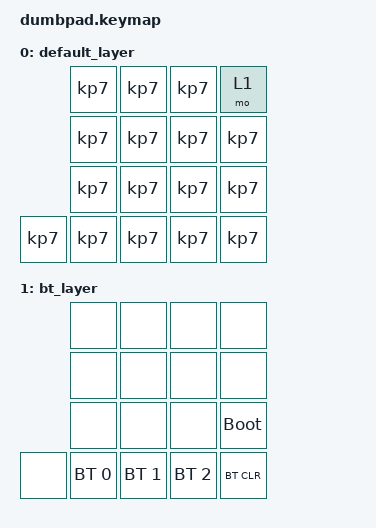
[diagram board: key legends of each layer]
#include <behaviors.dtsi>
#include <dt-bindings/zmk/keys.h>
#include <dt-bindings/zmk/bt.h>

/ {
    chosen {
		zephyr,console = &cdc_acm_uart;
	};

    keymap {
        compatible = "zmk,keymap";

        default_layer {
            bindings = <
                            &kp KP_N7   &kp KP_N7   &kp KP_N7   &mo 1
                            &kp KP_N7   &kp KP_N7   &kp KP_N7   &kp KP_N7
                            &kp KP_N7   &kp KP_N7   &kp KP_N7   &kp KP_N7
                &kp KP_N7   &kp KP_N7   &kp KP_N7   &kp KP_N7   &kp KP_N7
            >;
        };

        bt_layer {
            bindings = <
                        &none   &none   &none   &none
                        &none   &none   &none   &none
                        &none   &none   &none   &bootloader
                &none   &bt BT_SEL 0   &bt BT_SEL 1   &bt BT_SEL 2   &bt BT_CLR
            >;
        };
    };
};

&usbd {
        status = "okay";
        cdc_acm_uart: cdc_acm_uart {
            compatible = "zephyr,cdc-acm-uart";
        };
};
